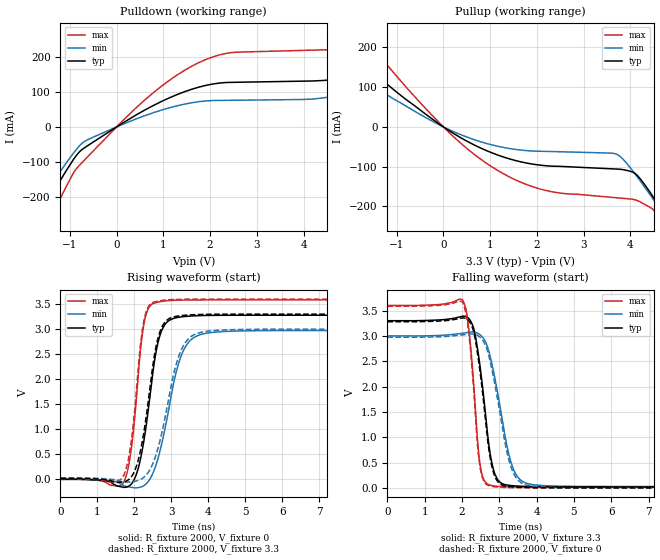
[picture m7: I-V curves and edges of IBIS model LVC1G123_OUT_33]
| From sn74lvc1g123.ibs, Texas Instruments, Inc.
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[Model]   LVC1G123_OUT_33
Model_type  Output
Vref =   0
Rref =   500
Cref =   50p
Vmeas =   1.5
| variable   typ   min   max
C_comp   9.12pF   5.74pF   12.25pF
| C_pullup   9.52pF   5.74pF   11.47pF
| C_pulldown   8.72pF   6.37pF   12.25pF
[Temperature Range]   40   100   -40
| Ambient temperature   25   85   -40
[Voltage range]   3.3   3   3.6
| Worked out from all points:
|   slope of the pulldown table from 0 to 0.495 V, typ, clamps not added: 12.4 ohm
|   slope of the pullup table from 0 to 0.495 V, typ, clamps not added: 14 ohm
|   rising waveform, R_fixture 2000, V_fixture 0: 20-80 % time 376ps typ, 522ps min, 276ps max; typ from 0 V to 3.28 V
|   falling waveform, R_fixture 2000, V_fixture 3.3: 20-80 % time 318ps typ, 455ps min, 222ps max; typ from 3.3 V to 0.019 V
|   rising waveform, R_fixture 2000, V_fixture 3.3: 20-80 % time 391ps typ, 539ps min, 287ps max; typ from 0.019 V to 3.3 V
|   falling waveform, R_fixture 2000, V_fixture 0: 20-80 % time 319ps typ, 451ps min, 224ps max; typ from 3.28 V to 0 V
[Pulldown]
| LVC1G123_OUT_33
|   Voltage   I(typ)   I(min)   I(max)
-5.5V     -1.074A    -948.7mA   -1.302A
-2.08V    -345.3mA   -296.2mA   -439.8mA
-1.51V    -219.2mA   -185.4mA   -286.1mA
-630mV    -54.48mA   -37.14mA   -86.6mA
970mV     73.06mA    48.27mA    116.9mA
2.2V      124.9mA    75.5mA     205.1mA
4.92V     143.2mA    95.23mA    226.3mA
6.98V     263.9mA    191.4mA    375.3mA
7.255V    285.3mA    139.1mA    404.3mA
8.02V     271.3mA    85.65mA    490.8mA
8.75V     159.3mA    86.54mA    476.1mA
11V       148.8mA    89.51mA    259.2mA
[Pullup]
| LVC1G123_OUT_33
|   Voltage   I(typ)   I(min)   I(max)
-5.5V     589.9mA    463.8mA    826.9mA
-3.5V     354.2mA    274.9mA    501.8mA
-2.7V     264.1mA    203.2mA    376.4mA
-1.975V   185.8mA    141.5mA    266.7mA
-80mV     6.466mA    4.718mA    9.58mA
1.12V     -68.89mA   -47.47mA   -106.5mA
2.2V      -97.71mA   -61.54mA   -160.1mA
3.71V     -106mA     -68.96mA   -178.3mA
4.13V     -120.1mA   -122.9mA   -184.5mA
4.81V     -234.9mA   -237.3mA   -266.9mA
4.925V    -256.5mA   -257.5mA   -290.7mA
11V       -1.485A    -1.382A    -1.704A
[Ramp]
| LVC1G123_OUT_33
| variable   typ   min   max
dV/dt_r   2.06/4.02E-10   1.89/5.59E-10   2.23/2.92E-10
dV/dt_f   2.02/3.32E-10   1.83/4.74E-10   2.23/2.34E-10
R_load = 2000
[Rising Waveform]
| LVC1G123_OUT_33
R_fixture =   2000
C_fixture =   0
L_fixture =   0
V_fixture =   0
V_fixture_min = 0
V_fixture_max = 0
|   Time   V(typ)   V(min)   V(max)
0s        157.5pV    5.862nV    2.3nV
1.715ns   -160.5mV   -127.5mV   -54.86mV
1.925ns   -88.59mV   -159.6mV   656mV
2.165ns   401.7mV    -155.5mV   2.577V
2.28ns    872.5mV    -115mV     3.181V
2.56ns    2.43V      231mV      3.524V
2.75ns    2.989V     741mV      3.556V
3.315ns   3.249V     2.552V     3.581V
4.11ns    3.275V     2.936V     3.584V
29.99ns   3.278V     2.973V     3.584V
[Falling Waveform]
| LVC1G123_OUT_33
R_fixture =   2000
C_fixture =   0
L_fixture =   0
V_fixture =   3.3
V_fixture_min = 3
V_fixture_max = 3.6
|   Time   V(typ)   V(min)   V(max)
0s        3.3V       3V         3.6V
2.02ns    3.389V     3.053V     3.705V
2.2ns     3.33V      3.073V     3.028V
2.335ns   3.084V     3.073V     1.831V
2.49ns    2.369V     3.019V     439.2mV
2.71ns    917.3mV    2.723V     65.24mV
2.83ns    402.9mV    2.353V     40.62mV
3.34ns    43.78mV    447.6mV    18.18mV
3.93ns    24.76mV    59.98mV    14.23mV
29.99ns   19.2mV     25.87mV    13.13mV
[Rising Waveform]
| LVC1G123_OUT_33
R_fixture =   2000
C_fixture =   0
L_fixture =   0
V_fixture =   3.3
V_fixture_min = 3
V_fixture_max = 3.6
|   Time   V(typ)   V(min)   V(max)
0s        19.16mV    25.81mV    13.11mV
1.71ns    -51.51mV   -57.1mV    75.93mV
1.915ns   45.86mV    -47.7mV    753.5mV
2.155ns   536.1mV    -5.413mV   2.62V
2.27ns    998.5mV    49mV       3.208V
2.54ns    2.462V     388.9mV    3.542V
2.72ns    3.001V     856.2mV    3.571V
3.28ns    3.272V     2.602V     3.597V
4.03ns    3.297V     2.964V     3.6V
29.99ns   3.3V       3V         3.6V
[Falling Waveform]
| LVC1G123_OUT_33
R_fixture =   2000
C_fixture =   0
L_fixture =   0
V_fixture =   0
V_fixture_min = 0
V_fixture_max = 0
|   Time   V(typ)   V(min)   V(max)
0s        3.279V     2.974V     3.585V
2.015ns   3.355V     3.02V      3.665V
2.195ns   3.288V     3.036V     2.972V
2.33ns    3.031V     3.032V     1.776V
2.485ns   2.293V     2.972V     407.6mV
2.7ns     873.6mV    2.664V     50.38mV
2.82ns    366.7mV    2.277V     26.25mV
3.32ns    21.03mV    401.2mV    4.969mV
3.91ns    5.158mV    30.31mV    1.102mV
29.99ns   39.52uV    53.47uV    26.62uV
